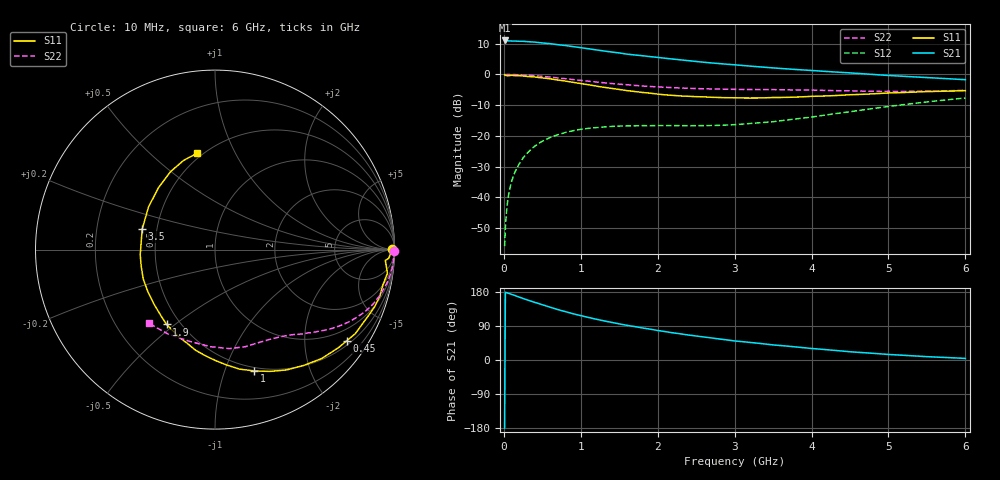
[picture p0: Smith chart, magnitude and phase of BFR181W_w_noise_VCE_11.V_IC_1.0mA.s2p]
! Infineon Technologies  Discrete & RF Semiconductors
! BFR181W
! VCE =  11. V,  IC =  1.0 mA
! Common Emitter S-Parameters:  Jan 2017
# GHz  S  MA  R  50
!  f  S11  S21  S12  S22
! GHz  MAG  ANG  MAG  ANG  MAG  ANG  MAG  ANG
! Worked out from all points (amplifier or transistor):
!   77 points, 10 MHz to 6 GHz, reference 50 ohm
!   highest |S21| = 11.1 dB at 10 MHz (marker M1)
!   |S21| within 3 dB of that: start of sweep to 1.181 GHz
!   unconditionally stable (mu >= 1): 2.318 GHz to 4.428 GHz
!   at 130 MHz: K = 0.04, MSG = 21.8 dB, |S12| = -32.7 dB
!   at 2.2 GHz: K = 0.96, MSG = 10.8 dB, |S12| = -16.6 dB
!   at 6 GHz: K = 0.84, MSG = 3.0 dB, |S12| = -7.7 dB
!   lowest NFmin = 0.87 dB at 450 MHz
!   S11 on the Smith chart (normalised r, x): 10 MHz: open; 450 MHz: 0.62, -3.10; 1 GHz: 0.46, -1.27; 1.9 GHz: 0.42, -0.47; 3.5 GHz: 0.41, +0.12; 6 GHz: 0.47, +0.72
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0.01  0.9863 0.1  3.578 -179.7  0.0016 79.5  1 -0.4
0.02  0.9691 -2.9  3.56 178.6  0.0031 95.6  0.9915 -0.6
0.04  0.957 -3.4  3.538 177.4  0.0068 87.0  0.9962 -1.5
0.07  0.9578 -5.3  3.518 175.4  0.0124 86.1  0.9971 -2.7
0.11  0.9665 -8.6  3.503 172.5  0.0197 85.5  0.9945 -4.4
0.25  0.9445 -19.8  3.469 162.4  0.0438 77.6  0.9808 -10.0
0.45  0.8931 -34.6  3.31 149.1  0.0748 67.4  0.9419 -17.3
0.6  0.85 -45.5  3.171 139.4  0.094 60.7  0.9059 -22.3
0.7  0.8122 -52.7  3.055 133.2  0.1044 57.1  0.8787 -25.2
0.8  0.7799 -59.3  2.956 127.6  0.1136 53.3  0.8523 -27.9
1  0.7107 -72.0  2.731 117.1  0.1277 47.4  0.8 -32.7
1.1  0.6802 -78.3  2.623 112.3  0.1328 44.8  0.7775 -34.7
1.3  0.6178 -89.8  2.414 103.3  0.1397 40.4  0.7324 -38.5
1.5  0.5703 -101.1  2.242 95.3  0.1444 37.4  0.695 -41.9
1.9  0.4966 -122.9  1.954 81.5  0.1464 34.4  0.6369 -48.2
2.1  0.4655 -133.2  1.835 74.9  0.1472 34.4  0.6181 -51.1
2.4  0.4409 -148.3  1.677 65.9  0.1464 35.6  0.5952 -56.0
3.1  0.4144 180.0  1.402 48.4  0.1556 44.1  0.5702 -66.4
3.5  0.4215 164.2  1.279 39.8  0.17 50.0  0.5666 -72.7
4.1  0.4433 144.1  1.139 28.8  0.2112 55.0  0.5528 -83.8
5.1  0.5036 117.7  0.948 13.5  0.3116 54.1  0.5297 -108.3
6  0.5461 100.5  0.822 4.2  0.4141 46.2  0.5517 -131.9
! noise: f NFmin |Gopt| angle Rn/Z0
0.45  0.87  0.69  18  0.51
0.9  0.95  0.64  36  0.47
1.9  1.56  0.44  83  0.32
2.4  1.81  0.38  99  0.34
